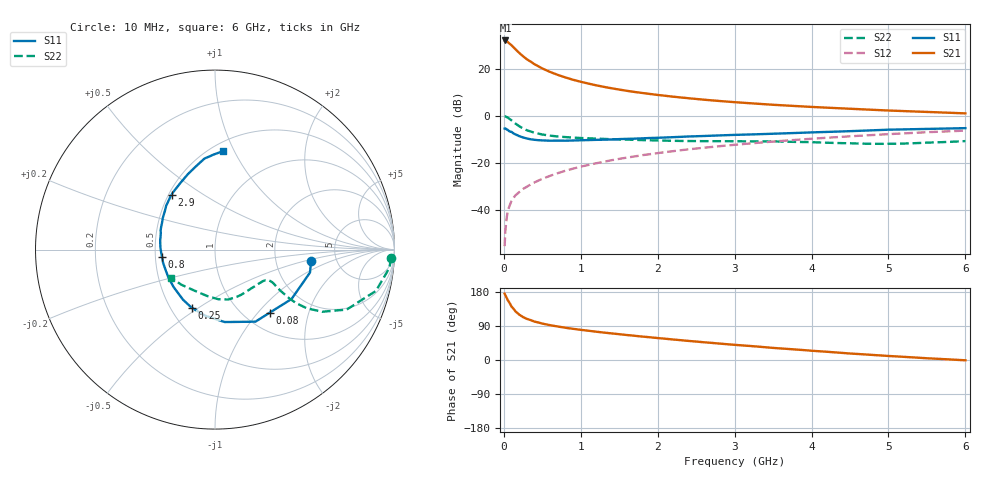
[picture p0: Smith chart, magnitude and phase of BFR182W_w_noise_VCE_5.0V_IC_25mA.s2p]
! (c) 2017  Infineon Technologies AG, Munich
! Infineon Technologies  Discrete & RF Semiconductors
! BFR182W
! VCE =  5.0 V,  IC =  25 mA
! Common Emitter S-Parameters:  Jan 2017
# GHz  S  MA  R  50
!  f  S11  S21  S12  S22
! GHz  MAG  ANG  MAG  ANG  MAG  ANG  MAG  ANG
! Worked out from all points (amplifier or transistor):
!   77 points, 10 MHz to 6 GHz, reference 50 ohm
!   highest |S21| = 32.1 dB at 20 MHz (marker M1)
!   |S21| within 3 dB of that: start of sweep to 128.4 MHz
!   unconditionally stable (mu >= 1): 779.2 MHz to 2.283 GHz
!   at 130 MHz: K = 0.45, MSG = 31.9 dB, |S12| = -34.7 dB
!   at 2.2 GHz: K = 1.01, MAG = 11.1 dB, |S12| = -15.0 dB
!   at 6 GHz: K = 0.86, MSG = 3.7 dB, |S12| = -6.2 dB
!   lowest NFmin = 1.56 dB at 450 MHz
!   S11 on the Smith chart (normalised r, x): 10 MHz: 3.23, -0.57; 80 MHz: 1.30, -1.16; 250 MHz: 0.64, -0.47; 800 MHz: 0.54, -0.05; 2.9 GHz: 0.52, +0.38; 6 GHz: 0.57, +0.91
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0.01  0.5391 -6.7  40.28 175.0  0.0017 97.8  0.9817 -2.7
0.02  0.5444 -13.6  40.33 170.9  0.0036 91.2  0.9771 -6.0
0.05  0.5076 -32.8  37.65 158.2  0.0092 76.5  0.9258 -14.4
0.08  0.4655 -48.9  33.82 148.6  0.013 72.7  0.8505 -20.1
0.1  0.4604 -60.7  31.89 141.0  0.0156 71.2  0.8057 -24.5
0.15  0.4072 -82.4  26.31 128.6  0.0204 66.5  0.6909 -30.1
0.2  0.3721 -98.5  21.91 119.8  0.024 67.1  0.6057 -32.6
0.25  0.3487 -112.0  18.62 113.2  0.028 64.5  0.5427 -33.4
0.3  0.3313 -122.5  16.02 108.4  0.0313 65.5  0.4954 -33.3
0.4  0.3109 -138.0  12.54 101.2  0.0387 67.5  0.4376 -32.3
0.5  0.302 -149.6  10.23 96.1  0.0459 68.7  0.4032 -31.3
0.6  0.2975 -158.6  8.655 91.9  0.0532 70.0  0.3813 -30.2
0.8  0.2978 -171.7  6.597 85.1  0.0683 71.5  0.3553 -29.6
0.9  0.3005 -177.2  5.882 82.3  0.0758 71.1  0.3469 -29.7
1.1  0.3068 173.8  4.875 77.2  0.0908 71.5  0.3352 -30.5
1.5  0.3218 160.2  3.635 68.1  0.1222 70.6  0.3163 -34.5
2.1  0.3483 144.3  2.682 56.1  0.1702 67.2  0.2983 -44.8
2.9  0.3904 128.2  2.022 41.7  0.2353 61.5  0.2902 -62.4
3.1  0.3995 124.3  1.914 38.5  0.2518 59.8  0.2889 -66.8
4.1  0.4521 108.3  1.528 23.1  0.3356 51.1  0.2731 -88.7
5.1  0.5141 95.4  1.287 9.5  0.4182 41.5  0.2568 -120.2
6  0.5508 85.3  1.135 -0.8  0.4882 32.3  0.2919 -147.6
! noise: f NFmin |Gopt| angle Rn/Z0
0.45  1.56  0.16  -169  0.15
0.9  1.65  0.17  -163  0.16
1.9  2.18  0.33  -138  0.18
2.4  2.46  0.34  -127  0.29
